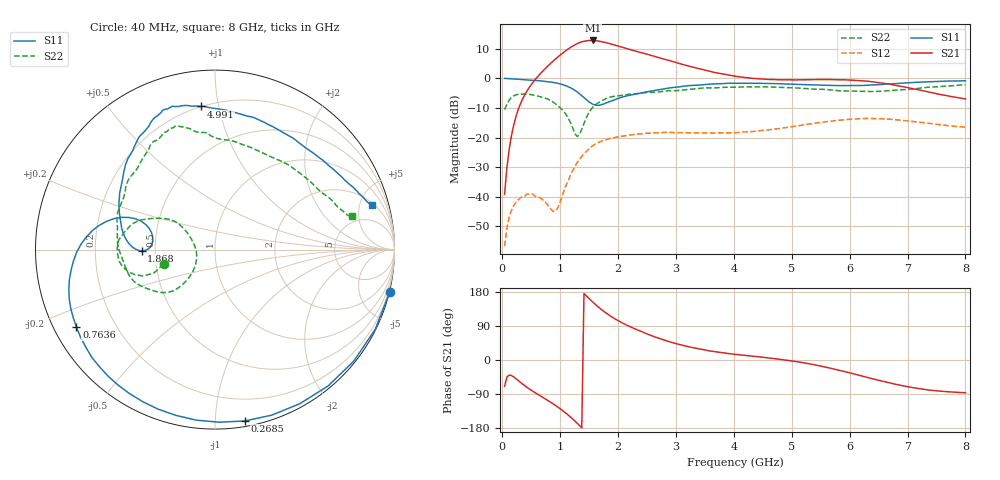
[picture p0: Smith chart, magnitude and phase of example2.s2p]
!Input port 1, output port 2.  Part de-embedded to pins.  Package LP3, Vs=5V
# MHZ S MA R 50
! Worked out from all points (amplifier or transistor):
!   210 points, 40 MHz to 8 GHz, reference 50 ohm
!   highest |S21| = 12.8 dB at 1.563 GHz (marker M1)
!   |S21| within 3 dB of that: 1.13 GHz to 2.191 GHz (1.062 GHz wide, 63.9 % of centre)
!   unconditionally stable (mu >= 1): 67.18 MHz to end of sweep
!   at 1.373 GHz: K = 1.89, MAG = 14.0 dB, |S12| = -26.4 dB
!   at 4.039 GHz: K = 1.20, MAG = 6.8 dB, |S12| = -18.3 dB
!   at 8 GHz: K = 1.20, MAG = 2.1 dB, |S12| = -16.5 dB
!   S11 on the Smith chart (normalised r, x): 40 MHz: -0.07, -8.36; 268.5 MHz: 0.04, -1.19; 763.6 MHz: 0.07, -0.26; 1.868 GHz: 0.42, -0.01; 4.991 GHz: 0.20, +0.89; 8 GHz: 2.17, +6.44
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40  1.002 -13.6  0.011 -69.5  0.001455 81.4  0.297 -164.3
116.172  0.992 -38.7  0.06 -39.9  0.004401 79.9  0.426 -159.8
268.517  0.969 -80.2  0.285 -53.3  0.00875 62.9  0.537 -172.9
535.12  0.928 -125.6  0.871 -83.2  0.011 47.0  0.523 171.0
763.636  0.885 -150.7  1.539 -104.6  0.007709 51.0  0.457 159.4
915.981  0.844 -164.8  2.12 -119.5  0.005647 95.1  0.374 152.2
1106.411  0.747 177.7  2.993 -141.1  0.016 142.7  0.242 144.8
1220.67  0.66 168.3  3.55 -156.2  0.028 141.0  0.142 156.6
1373.014  0.511 159.5  4.161 -178.9  0.048 128.2  0.138 -141.5
1449.187  0.439 159.0  4.323 169.6  0.058 120.1  0.213 -132.9
1563.445  0.366 165.0  4.388 152.8  0.073 107.7  0.326 -135.3
1715.789  0.36 177.5  4.18 132.8  0.087 92.3  0.417 -146.9
1868.134  0.409 -179.0  3.852 116.1  0.097 79.5  0.484 -158.4
2058.565  0.479 176.2  3.387 99.0  0.105 66.4  0.515 -172.9
2248.995  0.532 167.5  2.998 85.0  0.112 55.8  0.547 174.4
2706.029  0.644 143.3  2.244 57.4  0.121 34.9  0.59 148.7
3277.321  0.761 122.7  1.562 33.0  0.12 17.0  0.659 125.6
4039.043  0.83 109.5  1.084 14.8  0.121 5.1  0.712 111.9
4991.196  0.801 95.4  0.944 -2.2  0.152 -6.1  0.696 103.1
5372.057  0.776 84.1  0.954 -12.0  0.173 -14.0  0.66 97.9
6705.072  0.808 31.2  0.795 -61.0  0.204 -57.7  0.626 48.4
8000  0.912 15.9  0.451 -86.5  0.15 -79.8  0.785 13.8
